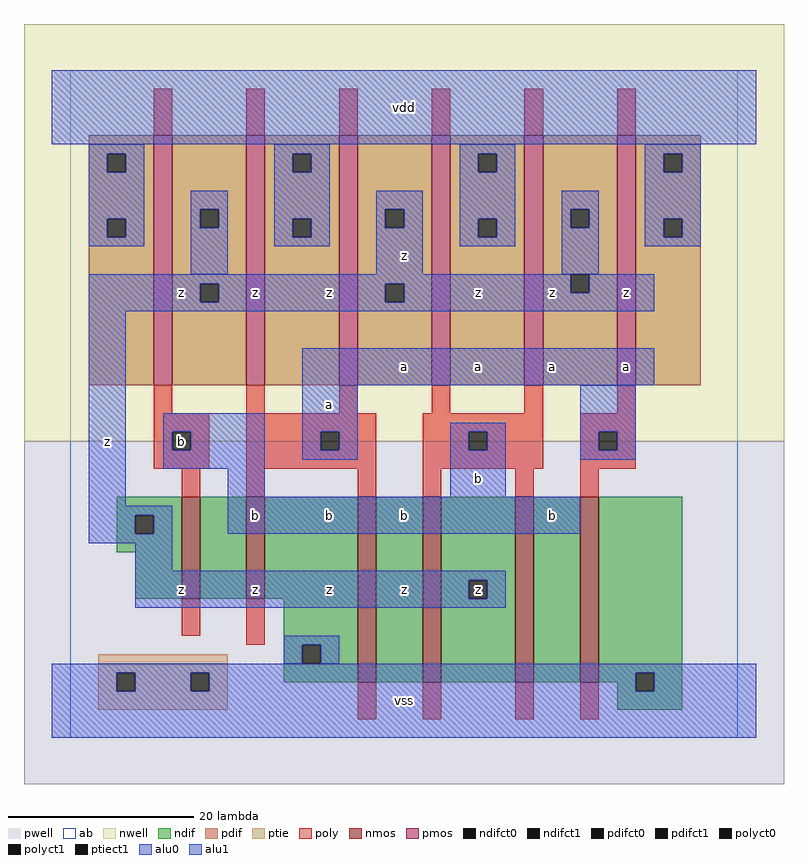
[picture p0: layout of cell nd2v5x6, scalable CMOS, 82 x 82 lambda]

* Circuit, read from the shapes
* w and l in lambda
.subckt nd2v5x6 a b vdd vss z
M1 n1 b z vss nfet w=11 l=2
M2 vss a n1 vss nfet w=11 l=2
M3 n2 a vss vss nfet w=20 l=2
M4 z b n2 vss nfet w=20 l=2
M5 n3 b z vss nfet w=20 l=2
M6 vss a n3 vss nfet w=20 l=2
M7 z b vdd n4 pfet w=27 l=2 m=3
M8 vdd a z n4 pfet w=27 l=2 m=3
.ends

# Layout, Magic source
magic
tech scmos
<< ab >>
rect 0 0 72 72
<< nwell >>
rect -5 32 77 77
<< pwell >>
rect -5 -5 77 32
<< poly >>
rect 9 65 11 70
rect 19 65 21 70
rect 29 65 31 70
rect 39 65 41 70
rect 49 65 51 70
rect 59 65 61 70
rect 9 35 11 38
rect 19 35 21 38
rect 29 35 31 38
rect 39 35 41 38
rect 49 35 51 38
rect 59 35 61 38
rect 9 33 15 35
rect 9 31 11 33
rect 13 31 15 33
rect 9 29 15 31
rect 19 33 33 35
rect 19 31 27 33
rect 29 31 33 33
rect 19 29 33 31
rect 12 26 14 29
rect 19 26 21 29
rect 31 26 33 29
rect 38 33 51 35
rect 38 31 43 33
rect 45 31 51 33
rect 38 29 51 31
rect 55 33 61 35
rect 55 31 57 33
rect 59 31 61 33
rect 55 29 61 31
rect 38 26 40 29
rect 48 26 50 29
rect 55 26 57 29
rect 12 11 14 15
rect 19 10 21 15
rect 31 2 33 6
rect 38 2 40 6
rect 48 2 50 6
rect 55 2 57 6
<< ndif >>
rect 5 24 12 26
rect 5 22 7 24
rect 9 22 12 24
rect 5 20 12 22
rect 7 15 12 20
rect 14 15 19 26
rect 21 15 31 26
rect 23 10 31 15
rect 23 8 25 10
rect 27 8 31 10
rect 23 6 31 8
rect 33 6 38 26
rect 40 17 48 26
rect 40 15 43 17
rect 45 15 48 17
rect 40 6 48 15
rect 50 6 55 26
rect 57 7 66 26
rect 57 6 61 7
rect 59 5 61 6
rect 63 5 66 7
rect 59 3 66 5
<< pdif >>
rect 2 63 9 65
rect 2 61 4 63
rect 6 61 9 63
rect 2 56 9 61
rect 2 54 4 56
rect 6 54 9 56
rect 2 38 9 54
rect 11 57 19 65
rect 11 55 14 57
rect 16 55 19 57
rect 11 49 19 55
rect 11 47 14 49
rect 16 47 19 49
rect 11 38 19 47
rect 21 63 29 65
rect 21 61 24 63
rect 26 61 29 63
rect 21 56 29 61
rect 21 54 24 56
rect 26 54 29 56
rect 21 38 29 54
rect 31 57 39 65
rect 31 55 34 57
rect 36 55 39 57
rect 31 49 39 55
rect 31 47 34 49
rect 36 47 39 49
rect 31 38 39 47
rect 41 63 49 65
rect 41 61 44 63
rect 46 61 49 63
rect 41 56 49 61
rect 41 54 44 56
rect 46 54 49 56
rect 41 38 49 54
rect 51 57 59 65
rect 51 55 54 57
rect 56 55 59 57
rect 51 50 59 55
rect 51 48 54 50
rect 56 48 59 50
rect 51 38 59 48
rect 61 63 68 65
rect 61 61 64 63
rect 66 61 68 63
rect 61 56 68 61
rect 61 54 64 56
rect 66 54 68 56
rect 61 38 68 54
<< alu1 >>
rect -2 64 74 72
rect 33 57 38 59
rect 33 55 34 57
rect 36 55 38 57
rect 33 50 38 55
rect 2 49 54 50
rect 2 47 14 49
rect 16 47 34 49
rect 36 48 54 49
rect 56 48 63 50
rect 36 47 63 48
rect 2 46 63 47
rect 2 25 6 46
rect 25 38 63 42
rect 10 33 21 35
rect 10 31 11 33
rect 13 31 21 33
rect 10 29 21 31
rect 25 33 31 38
rect 25 31 27 33
rect 29 31 31 33
rect 25 30 31 31
rect 41 33 47 34
rect 41 31 43 33
rect 45 31 47 33
rect 17 26 21 29
rect 41 26 47 31
rect 2 24 11 25
rect 2 22 7 24
rect 9 22 11 24
rect 17 22 55 26
rect 2 21 11 22
rect 7 18 11 21
rect 7 17 47 18
rect 7 15 43 17
rect 45 15 47 17
rect 7 14 47 15
rect -2 7 74 8
rect -2 5 5 7
rect 7 5 13 7
rect 15 5 61 7
rect 63 5 74 7
rect -2 0 74 5
<< ptie >>
rect 3 7 17 9
rect 3 5 5 7
rect 7 5 13 7
rect 15 5 17 7
rect 3 3 17 5
<< nmos >>
rect 12 15 14 26
rect 19 15 21 26
rect 31 6 33 26
rect 38 6 40 26
rect 48 6 50 26
rect 55 6 57 26
<< pmos >>
rect 9 38 11 65
rect 19 38 21 65
rect 29 38 31 65
rect 39 38 41 65
rect 49 38 51 65
rect 59 38 61 65
<< polyct0 >>
rect 57 31 59 33
<< polyct1 >>
rect 11 31 13 33
rect 27 31 29 33
rect 43 31 45 33
<< ndifct0 >>
rect 25 8 27 10
<< ndifct1 >>
rect 7 22 9 24
rect 43 15 45 17
rect 61 5 63 7
<< ptiect1 >>
rect 5 5 7 7
rect 13 5 15 7
<< pdifct0 >>
rect 4 61 6 63
rect 4 54 6 56
rect 14 55 16 57
rect 24 61 26 63
rect 24 54 26 56
rect 44 61 46 63
rect 44 54 46 56
rect 54 55 56 57
rect 64 61 66 63
rect 64 54 66 56
<< pdifct1 >>
rect 14 47 16 49
rect 34 55 36 57
rect 34 47 36 49
rect 54 48 56 50
<< alu0 >>
rect 2 63 8 64
rect 2 61 4 63
rect 6 61 8 63
rect 2 56 8 61
rect 22 63 28 64
rect 22 61 24 63
rect 26 61 28 63
rect 2 54 4 56
rect 6 54 8 56
rect 2 53 8 54
rect 13 57 17 59
rect 13 55 14 57
rect 16 55 17 57
rect 13 50 17 55
rect 22 56 28 61
rect 42 63 48 64
rect 42 61 44 63
rect 46 61 48 63
rect 22 54 24 56
rect 26 54 28 56
rect 22 53 28 54
rect 42 56 48 61
rect 62 63 68 64
rect 62 61 64 63
rect 66 61 68 63
rect 42 54 44 56
rect 46 54 48 56
rect 42 53 48 54
rect 53 57 57 59
rect 53 55 54 57
rect 56 55 57 57
rect 53 50 57 55
rect 62 56 68 61
rect 62 54 64 56
rect 66 54 68 56
rect 62 53 68 54
rect 55 33 61 38
rect 55 31 57 33
rect 59 31 61 33
rect 55 30 61 31
rect 23 10 29 11
rect 23 8 25 10
rect 27 8 29 10
<< labels >>
rlabel alu1 4 32 4 32 6 z
rlabel alu1 20 16 20 16 6 z
rlabel alu1 12 16 12 16 6 z
rlabel alu1 20 24 20 24 6 b
rlabel polyct1 12 32 12 32 6 b
rlabel alu1 12 48 12 48 6 z
rlabel alu1 20 48 20 48 6 z
rlabel alu1 36 4 36 4 6 vss
rlabel alu1 36 16 36 16 6 z
rlabel alu1 28 16 28 16 6 z
rlabel alu1 28 24 28 24 6 b
rlabel alu1 36 24 36 24 6 b
rlabel alu1 28 36 28 36 6 a
rlabel alu1 36 40 36 40 6 a
rlabel alu1 28 48 28 48 6 z
rlabel alu1 36 52 36 52 6 z
rlabel alu1 36 68 36 68 6 vdd
rlabel ndifct1 44 16 44 16 6 z
rlabel alu1 52 24 52 24 6 b
rlabel alu1 44 28 44 28 6 b
rlabel alu1 44 40 44 40 6 a
rlabel alu1 52 40 52 40 6 a
rlabel alu1 44 48 44 48 6 z
rlabel alu1 52 48 52 48 6 z
rlabel alu1 60 40 60 40 6 a
rlabel alu1 60 48 60 48 6 z
<< end >>
